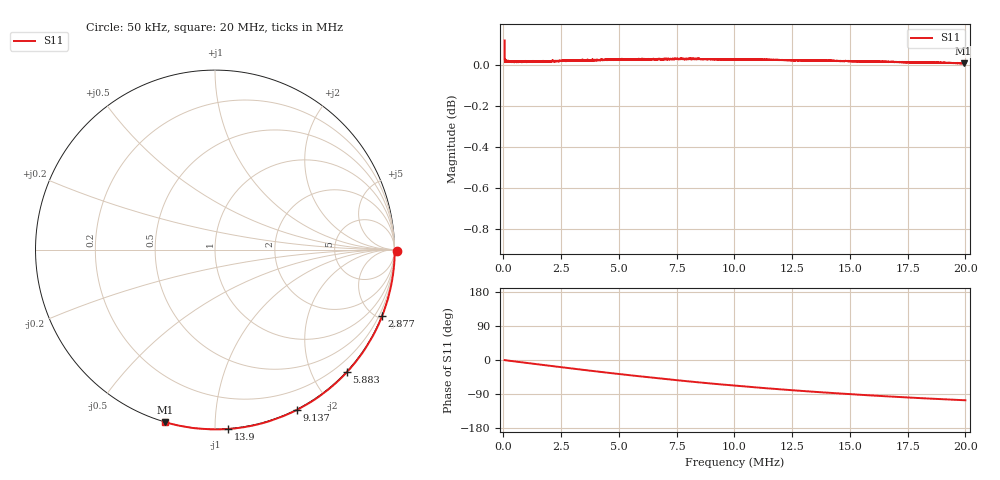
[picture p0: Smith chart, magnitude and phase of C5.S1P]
!Keysight Technologies,E5063A,MY54100949,A.07.30
!Date: Wed Nov 26 02:42:20 2025
!Data & Calibration Information:
!Freq	S11:SOLT1(ON)
# Hz S RI R 50
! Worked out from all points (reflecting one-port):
!   10001 points, 50 kHz to 20 MHz, reference 50 ohm
!   lowest |S11| = 0.0 dB at 19.92 MHz (marker M1)
!   phase of S11 starts at -0 deg and turns -106 deg over the sweep
!   S11 on the Smith chart (normalised r, x): 50 kHz: open; 2.877 MHz: -0.03, -5.21; 5.883 MHz: -0.01, -2.54; 9.137 MHz: -0.01, -1.64; 13.9 MHz: -0.00, -1.08; 20 MHz: -0.00, -0.75
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50000  1.014 -0.00569
153740  1.001 -0.0211
768200  0.9964 -0.1023
1380665  0.9848 -0.1831
1979165  0.9674 -0.2602
2543750  0.9459 -0.3308
2876915  0.9309 -0.3714
3379655  0.9053 -0.4306
3920300  0.874 -0.4916
4488875  0.8371 -0.5519
5037500  0.7985 -0.6067
5883380  0.734 -0.6833
6711305  0.6668 -0.7493
7531250  0.5976 -0.8058
8341220  0.527 -0.8535
9137225  0.4581 -0.8923
1.0025e7  0.3814 -0.9275
1.065143e7  0.3282 -0.9476
1.122599e7  0.2805 -0.9626
1.186838e7  0.2284 -0.9764
1.251875e7  0.1771 -0.9867
1.390328e7  0.074 -0.9994
1.50125e7  -0.00255 -1.002
1.623144e7  -0.0802 -0.9983
1.750625e7  -0.1545 -0.9892
1.871722e7  -0.2187 -0.9768
1.99222e7  -0.2768 -0.9615
2e7  -0.2805 -0.9606
